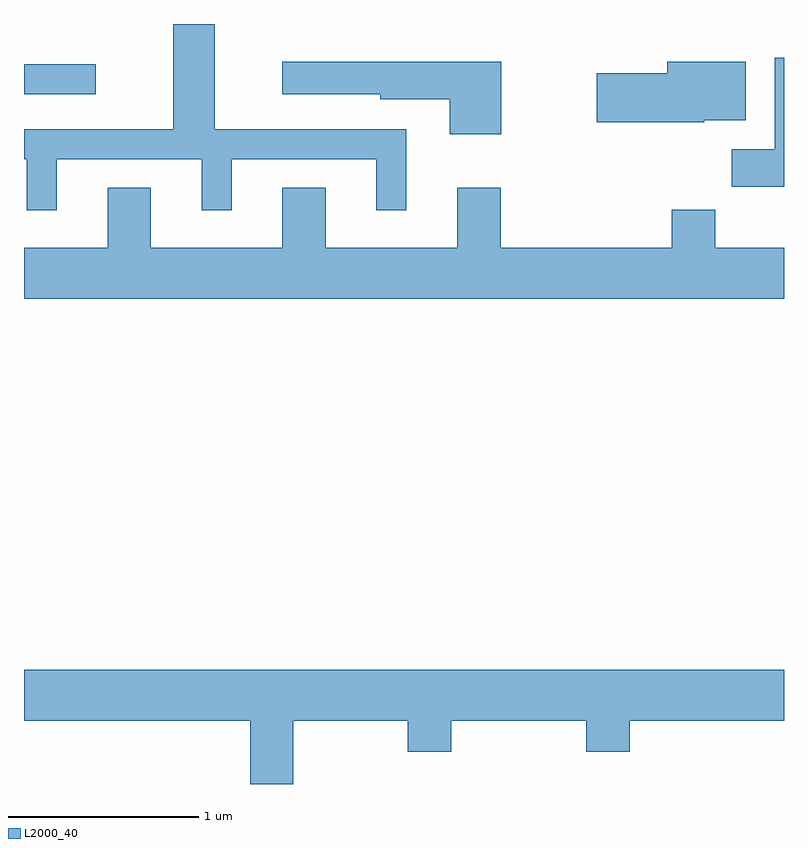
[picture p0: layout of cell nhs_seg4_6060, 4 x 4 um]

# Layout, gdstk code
import gdstk
lib = gdstk.Library(unit=1e-6, precision=1e-09)
def R(c, l, rs):  # rectangles x0, y0, x1, y1
    for r in rs: c.add(gdstk.rectangle(r[:2], r[2:], *l))
def P(c, l, *ps):  # polygons
    for p in ps: c.add(gdstk.Polygon(p, *l))
L2000_40 = (2000, 40)

nhs_seg4_6060 = lib.new_cell('nhs_seg4_6060')
R(nhs_seg4_6060, L2000_40, [(363.611,1273.611,363.988,1273.769)])
P(nhs_seg4_6060, L2000_40, [(363.784,1273.271),(364.546,1273.271),(364.546,1273.003),(364.704,1273.003),(364.704,1273.271),(365.466,1273.271),(365.466,1273.003),(365.624,1273.003),(365.624,1273.429),(364.614,1273.429),(364.614,1273.982),(364.396,1273.982),(364.396,1273.429),(363.611,1273.429),(363.611,1273.271),(363.626,1273.271),(363.626,1273.003),(363.784,1273.003)],
  [(367.611,1273.804),(367.561,1273.804),(367.561,1273.324),(367.336,1273.324),(367.336,1273.126),(367.611,1273.126)],
  [(367.19,1273.476),(367.409,1273.476),(367.409,1273.784),(366.996,1273.784),(366.996,1273.724),(366.626,1273.724),(366.626,1273.466),(367.19,1273.466)],
  [(366.124,1273.784),(364.971,1273.784),(364.971,1273.611),(365.486,1273.611),(365.486,1273.586),(365.851,1273.586),(365.851,1273.401),(366.124,1273.401)],
  [(367.611,1272.804),(367.249,1272.804),(367.249,1273.004),(367.021,1273.004),(367.021,1272.804),(366.119,1272.804),(366.119,1273.119),(365.891,1273.119),(365.891,1272.804),(365.199,1272.804),(365.199,1273.119),(364.971,1273.119),(364.971,1272.804),(364.279,1272.804),(364.279,1273.119),(364.051,1273.119),(364.051,1272.804),(363.611,1272.804),(363.611,1272.536),(367.611,1272.536)],
  [(365.029,1270.316),(365.631,1270.316),(365.631,1270.151),(365.859,1270.151),(365.859,1270.316),(366.571,1270.316),(366.571,1270.151),(366.799,1270.151),(366.799,1270.316),(367.611,1270.316),(367.611,1270.584),(363.611,1270.584),(363.611,1270.316),(364.801,1270.316),(364.801,1269.982),(365.029,1269.982)])

lib.write_gds('nhs_seg4_6060.gds')
